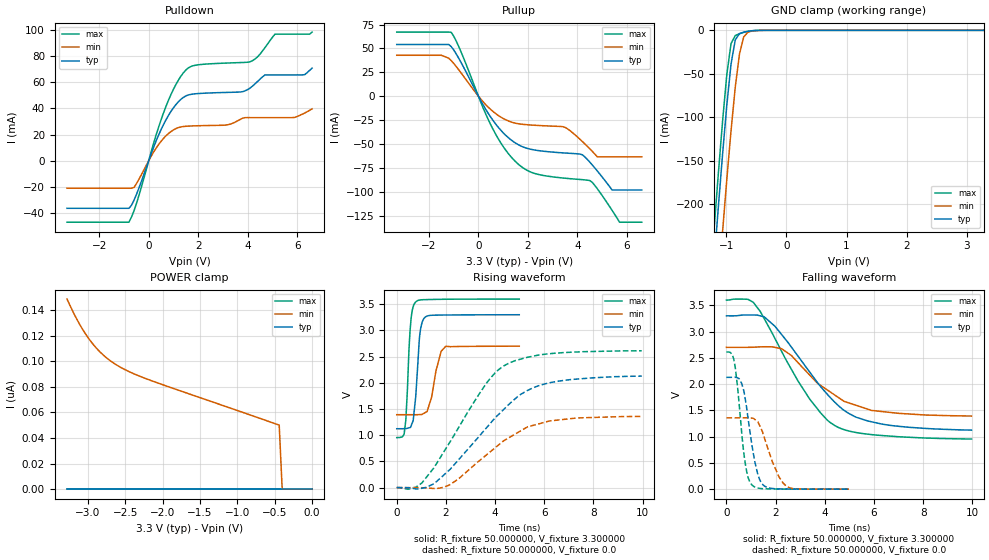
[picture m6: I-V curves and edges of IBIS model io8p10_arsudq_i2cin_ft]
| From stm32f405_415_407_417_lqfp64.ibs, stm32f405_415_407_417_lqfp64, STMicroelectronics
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|   Model io8p10_arsudq_i2cin_ft
[Model]  io8p10_arsudq_i2cin_ft
Model_type I/O
Polarity   Non-Inverting
Enable   Active-Low
Vinl =   0.990000V
Vinh =   2.310000V
Vmeas =  1.650000V
Cref =   40.000000pF
Rref =   100.000000M
Vref =   0.0V
C_comp   2.280000pF   2.217100pF   2.355700pF
[Temperature Range]   25.000000   0.125000k   -40.000000
[Pullup Reference]   3.300000V   2.700000V   3.600000V
[Pulldown Reference]   0.0V   0.0V   0.0V
[POWER Clamp Reference]   3.300000V   2.700000V   3.600000V
[GND Clamp Reference]   0.0V   0.0V   0.0V
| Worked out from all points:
|   slope of the pulldown table from 0 to 0.495 V, typ, clamps not added: 20.9 ohm
|   slope of the pullup table from 0 to 0.495 V, typ, clamps not added: 22.6 ohm
|   GND clamp passes 1 mA (typ) near -0.62 V on its own axis
|   rising waveform, R_fixture 50.000000, V_fixture 3.300000: 20-80 % time 194ps typ, 344ps min, 164ps max; typ from 1.12 V to 3.3 V
|   rising waveform, R_fixture 50.000000, V_fixture 0.0: 20-80 % time 2.52ns typ, 2.29ns min, 2.11ns max; typ from 0 V to 2.13 V
|   falling waveform, R_fixture 50.000000, V_fixture 3.300000: 20-80 % time 2.25ns typ, 2.05ns min, 2.03ns max; typ from 3.3 V to 1.12 V
|   falling waveform, R_fixture 50.000000, V_fixture 0.0: 20-80 % time 433ps typ, 634ps min, 339ps max; typ from 2.13 V to 0 V
[Pulldown]
|Voltage   I(typ)   I(min)   I(max)
-3.3V     -36.46mA   -21.09mA   -47.09mA
-800mV    -36.46mA   -21.09mA   -47.09mA
-600mV    -30.5mA    -20.54mA   -38.69mA
700mV     31.4mA     19.11mA    41.71mA
1.2V      45.15mA    25.37mA    61.75mA
1.6V      50.35mA    26.5mA     71.06mA
3.1V      52.28mA    27.26mA    74.76mA
4.1V      55.7mA     33mA       75.81mA
4.7V      65.72mA    33mA       86.7mA
5.1V      65.72mA    33mA       96.91mA
6.3V      65.88mA    36.51mA    96.91mA
6.6V      70.94mA    39.72mA    98.51mA
[Pullup]
|Voltage   I(typ)   I(min)   I(max)
-3.3V     54.23mA    42.91mA    67.18mA
-1.1V     51.99mA    37.29mA    66.9mA
500mV     -22.07mA   -14mA      -30.03mA
1.5V      -49.1mA    -28.3mA    -68.56mA
2.2V      -56.05mA   -30.32mA   -80.35mA
3.5V      -59.53mA   -32.65mA   -85.92mA
4.2V      -61.43mA   -47.48mA   -87.46mA
4.5V      -69.07mA   -55.12mA   -88.38mA
4.8V      -78.22mA   -63.5mA    -96.83mA
5.4V      -98.3mA    -63.5mA    -119.6mA
5.7V      -98.3mA    -63.5mA    -132mA
6.6V      -98.3mA    -63.5mA    -132mA
[GND_clamp]
|Voltage   I(typ)   I(min)   I(max)
-3.3V     -2.318A    -2.397A    -2.291A
-1.2V     -265.5mA   -356.1mA   -227.2mA
-1.13V    -202.6mA   -292.9mA   -164.1mA
-1.06V    -142.2mA   -231.2mA   -104.1mA
-990mV    -85.98mA   -171.6mA   -50.72mA
-920mV    -38.8mA    -115.5mA   -15.28mA
-850mV    -11.08mA   -65.6mA    -6.001mA
-780mV    -3.782mA   -27.42mA   -3.876mA
-710mV    -2.086mA   -7.69mA    -2.381mA
-640mV    -1.147mA   -2.118mA   -1.22mA
-570mV    -523.9uA   -798.4uA   -476.8uA
3.28V     0A         0A         0A
[POWER_clamp]
|Voltage   I(typ)   I(min)   I(max)
-3.28V    0A         148.5nA    0A
-3.2V     0A         138.6nA    0A
-3.12V    0A         129.7nA    0A
-3.04V    0A         122nA      0A
-2.96V    0A         115.3nA    0A
-2.8V     0A         105.1nA    0A
-2.6V     0A         96.44nA    0A
-2.4V     0A         90.52nA    0A
-2.16V    0A         84.97nA    0A
-440mV    0A         50.04nA    0A
-400mV    0A         0A         0A
0V        0A         0A         0A
[Ramp]
| variable   typ   min   max
dV/dt_r  1.26720/2.50765n   0.81174/2.28853n   1.56390/2.10822n
dV/dt_f  1.28304/2.23594n   0.77796/2.04469n   1.57485/2.02784n
R_load = 50.000000
[Rising Waveform]
R_fixture= 50.000000
V_fixture= 3.300000
V_fixture_min= 2.700000
V_fixture_max= 3.600000
|time   V(typ)   V(min)   V(max)
0s        1.124V     1.392V     954.4mV
300.3ps   1.126V     1.392V     1.022V
370.4ps   1.128V     1.392V     1.295V
540.5ps   1.147V     1.392V     2.987V
760.8ps   1.684V     1.391V     3.538V
940.9ps   2.929V     1.394V     3.581V
1.171ns   3.26V      1.436V     3.588V
1.802ns   3.293V     2.592V     3.594V
2.002ns   3.294V     2.7V       3.595V
4.985ns   3.3V       2.7V       3.599V
[Rising Waveform]
R_fixture= 50.000000
V_fixture= 0.0
V_fixture_min= 0.0
V_fixture_max= 0.0
|time   V(typ)   V(min)   V(max)
0s        344.3uV    197.2uV    670uV
460.5ps   -2.521mV   135uV      -29.38mV
1.021ns   -11.68mV   -1.705mV   87.93mV
1.522ns   76.04mV    -17.08mV   385.3mV
2.142ns   336.1mV    50.68mV    853.5mV
3.644ns   1.138V     622.2mV    1.989V
4.444ns   1.535V     919.5mV    2.347V
5.285ns   1.847V     1.15V      2.484V
6.126ns   1.991V     1.261V     2.551V
9.97ns    2.129V     1.359V     2.612V
[Falling Waveform]
R_fixture= 50.000000
V_fixture= 3.300000
V_fixture_min= 2.700000
V_fixture_max= 3.600000
|time   V(typ)   V(min)   V(max)
0s        3.3V       2.7V       3.599V
880.9ps   3.316V     2.7V       3.612V
1.101ns   3.315V     2.702V     3.551V
1.542ns   3.279V     2.711V     3.242V
2.242ns   2.945V     2.673V     2.625V
3.383ns   2.232V     2.174V     1.718V
4.424ns   1.648V     1.787V     1.206V
5.265ns   1.372V     1.598V     1.079V
6.306ns   1.241V     1.478V     1.022V
9.97ns    1.124V     1.392V     954.4mV
[Falling Waveform]
R_fixture= 50.000000
V_fixture= 0.0
V_fixture_min= 0.0
V_fixture_max= 0.0
|time   V(typ)   V(min)   V(max)
0s        2.129V     1.359V     2.612V
300.3ps   2.13V      1.359V     2.471V
450.5ps   2.119V     1.358V     1.95V
620.6ps   2.012V     1.358V     1.076V
820.8ps   1.55V      1.36V      340.8mV
1.041ns   824.6mV    1.352V     80.07mV
1.451ns   101.6mV    1.111V     10.59mV
1.872ns   12.97mV    518.4mV    4.505mV
2.422ns   2.941mV    64.01mV    2.376mV
4.985ns   344.3uV    197.2uV    670uV
